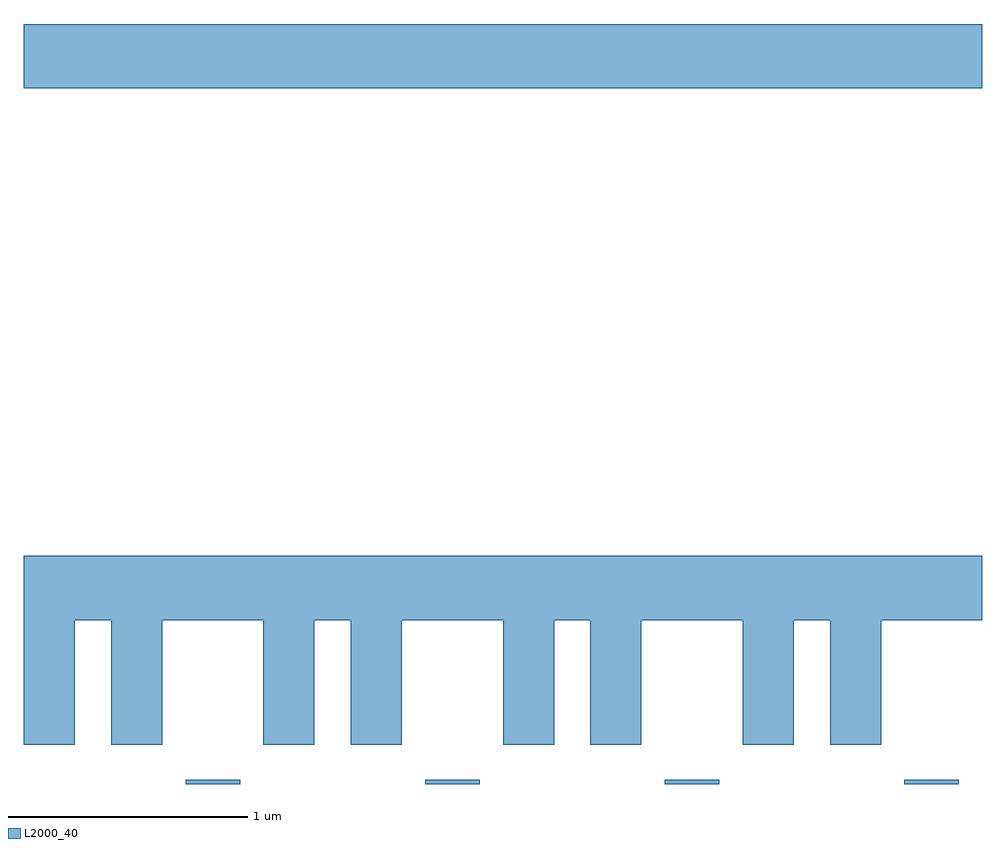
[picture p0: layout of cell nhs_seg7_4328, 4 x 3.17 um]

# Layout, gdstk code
import gdstk
lib = gdstk.Library(unit=1e-6, precision=1e-09)
def R(c, l, rs):  # rectangles x0, y0, x1, y1
    for r in rs: c.add(gdstk.rectangle(r[:2], r[2:], *l))
def A(c, l, x, y, w, h, nx, ny, dx, dy):  # array of equal rectangles
    R(c, l, [(x+i*dx, y+j*dy, x+i*dx+w, y+j*dy+h) for i in range(nx) for j in range(ny)])
def P(c, l, *ps):  # polygons
    for p in ps: c.add(gdstk.Polygon(p, *l))
L2000_40 = (2000, 40)

nhs_seg7_4328 = lib.new_cell('nhs_seg7_4328')
A(nhs_seg7_4328, L2000_40, 318.286, 1760.252, 0.228, 0.017, 4, 1, 1, 0)
R(nhs_seg7_4328, L2000_40, [(317.611,1763.156,321.611,1763.424)])
P(nhs_seg7_4328, L2000_40, [(317.824,1760.936),(317.976,1760.936),(317.976,1760.416),(318.189,1760.416),(318.189,1760.936),(318.611,1760.936),(318.611,1760.416),(318.824,1760.416),(318.824,1760.936),(318.976,1760.936),(318.976,1760.416),(319.189,1760.416),(319.189,1760.936),(319.611,1760.936),(319.611,1760.416),(319.824,1760.416),(319.824,1760.936),(319.976,1760.936),(319.976,1760.416),(320.189,1760.416),(320.189,1760.936),(320.611,1760.936),(320.611,1760.416),(320.824,1760.416),(320.824,1760.936),(320.976,1760.936),(320.976,1760.416),(321.189,1760.416),(321.189,1760.936),(321.611,1760.936),(321.611,1761.204),(317.611,1761.204),(317.611,1760.416),(317.824,1760.416)])

lib.write_gds('nhs_seg7_4328.gds')
